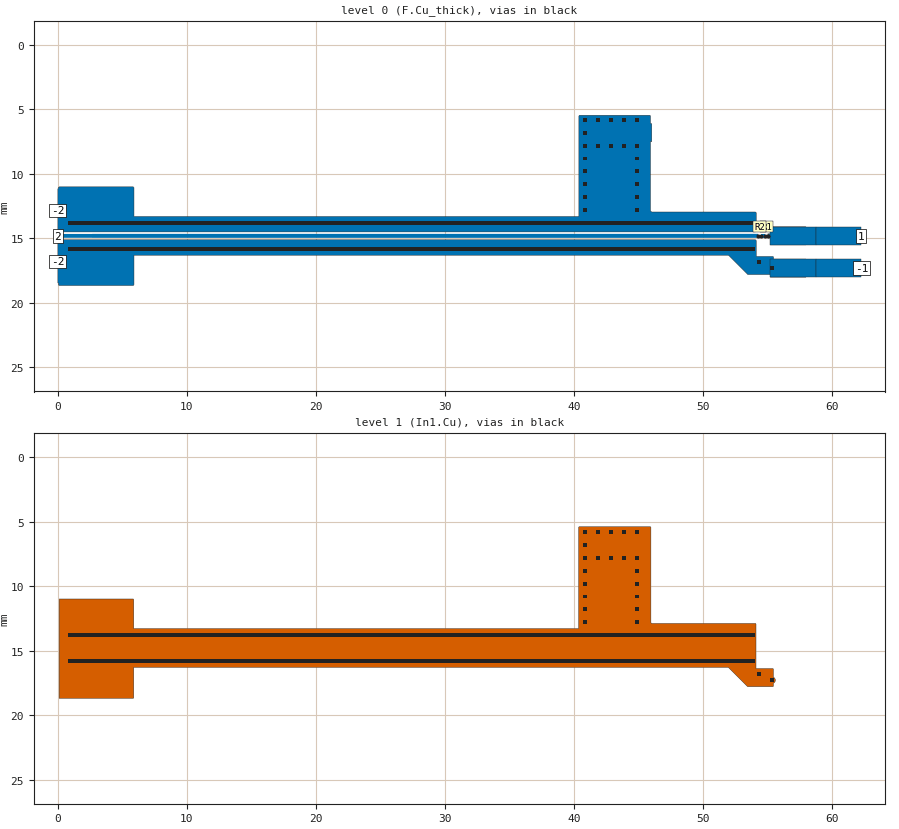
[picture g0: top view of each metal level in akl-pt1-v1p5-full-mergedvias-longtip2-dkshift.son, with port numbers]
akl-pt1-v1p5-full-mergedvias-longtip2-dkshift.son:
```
FTYP SONPROJ 19 ! Sonnet Project File
VER 18.54
HEADER
LIC antikernel2.1.51813
DAT 08/12/2022 13:37:57
BUILT_BY_CREATED dxf 18.54 08/11/2022 23:14:47
BUILT_BY_SAVED sonnet 18.54
MDATE 08/12/2022 09:58:47
HDATE 08/12/2022 09:58:47
ANN Created by dxfgeo, Sonnet Software Inc.
END HEADER
DIM
ANG DEG
CAP PF
CON /OH
FREQ GHZ
IND NH
LNG MM
RES OH
END DIM
CONTROL
VARSWP
OPTIONS  -dj
SPEED 1
CACHE_ABS 2
Q_ACC N
END CONTROL
GEO
DRP1 LEFT NONE 5
DRP1 RIGHT NONE 5
TMET "Free Space" 0 FREESPACE 376.7303136 0 0 0
BMET "Free Space" 0 FREESPACE 376.7303136 0 0 0
MET "Copper_1oz+plated_thick_up" 1 TMM 58000000 0.5 0.0432 2
MET "Copper_1oz+plated_thin" 4 NOR 58000000 0.5 0.0432 
MET "Copper_0.5oz_thin" 2 NOR 58000000 0.5 0.0175 
MET "Copper_1oz+plated_thick_down" 3 TMM 58000000 0.5 0.0432 2 CDVY TDWN
MET "ThickTip" 11 TMM 15700000 0.5 1 4
BOX 4 62.3 25 2492 1000 20 0
      10 1 1 0 0 0 0 "Air"
      0.2021 3.61 1 0.0092 0 0 0 "Isola_FR408HR"
      1.1938 3.61 1 0.0092 0 0 0 "Isola_FR408HR"
      0.2021 3.61 1 0.0092 0 0 0 "Isola_FR408HR"
      10 1 1 0 0 0 0 "Air"
TECHLAY METAL F.Cu_thick <UNSPECIFIED> -1 -65534 CAD F.Cu drawing 
0 0 0 N 398 1 1 100 100 0 0 0 Y
END
END
TECHLAY VIA Via1 <UNSPECIFIED> -7 -65534 CAD Via1 drawing 
VIA POLYGON
0 0 -1 N 403 1 1 100 100 0 0 0 Y
TOLEVEL 3 RING NOCOVERS
END
END
TECHLAY METAL F.Cu_thin <UNSPECIFIED> -2 -65534 CAD F.Cu_thin drawing 
0 0 1 N 405 1 1 100 100 0 0 0 Y
END
END
TECHLAY METAL Tip <UNSPECIFIED> -8 -65534 
0 0 4 N 407 1 1 100 100 0 0 0 Y
END
END
TECHLAY METAL In1.Cu <UNSPECIFIED> -3 -65534 CAD In1.Cu drawing 
1 0 2 N 416 1 1 100 100 0 0 0 Y
END
END
TECHLAY METAL In2.Cu <UNSPECIFIED> -4 -65534 CAD In2.Cu drawing 
2 0 2 N 419 1 1 100 100 0 0 0 Y
END
END
TECHLAY METAL B.Cu_thin <UNSPECIFIED> -6 -65534 CAD B.Cu_thin drawing 
3 0 1 N 422 1 1 100 100 0 0 0 Y
END
END
TECHLAY METAL B.Cu_thick <UNSPECIFIED> -5 -65534 CAD B.Cu drawing 
3 0 3 N 424 1 1 100 100 0 0 0 Y
END
END
LORGN 0 25 U 
POR1 BOX
POLY 224 1
41
-2 50 0 0 0 0 12.82 
POR1 BOX
POLY 225 1
10
2 50 0 0 0 0 14.8 
POR1 BOX
POLY 228 1
23
-2 50 0 0 0 0 16.78 
POR1 BOX
POLY 381 1
1
1 50 0 0 0 62.3 14.8 
POR1 BOX
POLY 382 1
1
-1 50 0 0 0 62.3 17.3 
SMD 0 "R1"
ID 240
GNDREF FLOAT
DRP1 LEFT NONE 2
DRP1 RIGHT NONE 2
SBOX 54.89875 54.99625 14.75125 14.84875
PBSHW N
LPOS 54.9475 14.75125
TYPE SPARAM 1
SMDP 0 55.045 14.8 R 3 1 
EXSMDP
GNDREF FLOAT
TERMW FEED
END EXSMDP
SMDP 0 54.85 14.8 L 4 2 
EXSMDP
GNDREF FLOAT
TERMW FEED
END EXSMDP
END
SMD 0 "R2"
ID 269
GNDREF FLOAT
DRP1 LEFT NONE 2
DRP1 RIGHT NONE 2
SBOX 54.35 54.45 14.75 14.85
PBSHW N
LPOS 54.4 14.75
TYPE SPARAM 2
SMDP 0 54.5 14.8 R 5 1 
EXSMDP
GNDREF FLOAT
TERMW FEED
END EXSMDP
SMDP 0 54.3 14.8 L 6 2 
EXSMDP
GNDREF FLOAT
TERMW FEED
END EXSMDP
END
NUM 35
0 13 0 N 3 1 1 100 100 0 0 0 Y
TLAYNAM F.Cu_thick INH
USER_DAT FromImport
54.5 14.955
54.5 14.645
54.65 14.645
54.65 14.65
54.7 14.65
54.7 14.645
54.85 14.645
54.85 14.955
54.7 14.955
54.7 14.95
54.65 14.95
54.65 14.955
54.5 14.955
END
0 45 0 N 224 1 1 100 100 0 0 0 Y
TLAYNAM F.Cu_thick INH
USER_DAT FromImport
54.089 14.493
54.133 14.468
54.15 14.421
54.15 13.024
54.149 13.011
54.124 12.967
54.076 12.95
46.129 12.95
46.11 12.953
46.1 12.955
46.091 12.953
46.061 12.945
46.022 12.934
45.966 12.878
45.95 12.82
45.945 12.8
45.947 12.79
45.95 12.771
45.95 7.5
46.05 7.5
46.05 6.1
45.95 6.1
45.95 5.524
45.949 5.511
45.924 5.467
45.876 5.45
40.474 5.45
40.461 5.451
40.417 5.476
40.4 5.524
40.4 13.3
5.9 13.3
5.9 11.074
5.899 11.061
5.874 11.017
5.826 11
0.124 11
0.111 11.001
0.067 11.026
0.05 11.074
0.05 11.145
0 11.145
0 14.495
54.076 14.495
54.089 14.493
END
0 23 0 N 225 1 1 100 100 0 0 0 Y
TLAYNAM F.Cu_thick INH
USER_DAT FromImport
54.3 14.645
54.15 14.645
54.15 14.653
54.138 14.649
54.123 14.646
54.108 14.645
2.692 14.645
2.677 14.646
2.662 14.649
2.659 14.65
0 14.65
0 14.95
2.659 14.95
2.662 14.951
2.677 14.954
2.692 14.955
54.108 14.955
54.123 14.954
54.138 14.951
54.15 14.947
54.15 14.955
54.3 14.955
54.3 14.645
END
0 32 0 N 228 1 1 100 100 0 0 0 Y
TLAYNAM F.Cu_thick INH
USER_DAT FromImport
5.839 18.649
5.883 18.624
5.9 18.576
5.9 16.3
52 16.3
53.483 17.783
53.531 17.8
55.245 17.8
55.245 18
58 18
58 16.6
55.5 16.6
55.5 16.474
55.499 16.461
55.474 16.417
55.426 16.4
54.15 16.4
54.15 15.18
54.149 15.167
54.124 15.123
54.076 15.106
5.5 15.106
5.5 15.105
0 15.105
0 18.455
0.05 18.455
0.05 18.576
0.051 18.589
0.076 18.633
0.124 18.65
5.826 18.65
5.839 18.649
END
0 17 0 N 229 1 1 100 100 0 0 0 Y
TLAYNAM F.Cu_thick INH
USER_DAT FromImport
58 14.1
55.245 14.1
55.245 14.645
55.05 14.645
55.05 14.759
55.049 14.762
55.046 14.777
55.045 14.792
55.045 14.808
55.046 14.823
55.049 14.838
55.05 14.841
55.05 14.955
55.245 14.955
55.245 15.5
58 15.5
58 14.1
END
VIA POLYGON
0 5 -1 N 7 1 1 100 100 0 0 0 Y
TOLEVEL 3 RING NOCOVERS
TLAYNAM Via1 INH
USER_DAT FromImport
55.25 17.45
55.25 17.15
55.55 17.15
55.55 17.45
55.25 17.45
END
VIA POLYGON
0 5 -1 N 8 1 1 100 100 0 0 0 Y
TOLEVEL 3 RING NOCOVERS
TLAYNAM Via1 INH
USER_DAT FromImport
54.25 16.95
54.25 16.65
54.55 16.65
54.55 16.95
54.25 16.95
END
VIA POLYGON
0 5 -1 N 61 1 1 100 100 0 0 0 Y
TOLEVEL 3 RING NOCOVERS
TLAYNAM Via1 INH
USER_DAT FromImport
40.75 12.95
40.75 12.65
41.05 12.65
41.05 12.95
40.75 12.95
END
VIA POLYGON
0 5 -1 N 62 1 1 100 100 0 0 0 Y
TOLEVEL 3 RING NOCOVERS
TLAYNAM Via1 INH
USER_DAT FromImport
44.75 12.95
44.75 12.65
45.05 12.65
45.05 12.95
44.75 12.95
END
VIA POLYGON
0 5 -1 N 63 1 1 100 100 0 0 0 Y
TOLEVEL 3 RING NOCOVERS
TLAYNAM Via1 INH
USER_DAT FromImport
40.75 11.95
40.75 11.65
41.05 11.65
41.05 11.95
40.75 11.95
END
VIA POLYGON
0 5 -1 N 64 1 1 100 100 0 0 0 Y
TOLEVEL 3 RING NOCOVERS
TLAYNAM Via1 INH
USER_DAT FromImport
44.75 11.95
44.75 11.65
45.05 11.65
45.05 11.95
44.75 11.95
END
VIA POLYGON
0 5 -1 N 65 1 1 100 100 0 0 0 Y
TOLEVEL 3 RING NOCOVERS
TLAYNAM Via1 INH
USER_DAT FromImport
40.75 10.95
40.75 10.65
41.05 10.65
41.05 10.95
40.75 10.95
END
VIA POLYGON
0 5 -1 N 66 1 1 100 100 0 0 0 Y
TOLEVEL 3 RING NOCOVERS
TLAYNAM Via1 INH
USER_DAT FromImport
44.75 10.95
44.75 10.65
45.05 10.65
45.05 10.95
44.75 10.95
END
VIA POLYGON
0 5 -1 N 67 1 1 100 100 0 0 0 Y
TOLEVEL 3 RING NOCOVERS
TLAYNAM Via1 INH
USER_DAT FromImport
40.75 9.95
40.75 9.65
41.05 9.65
41.05 9.95
40.75 9.95
END
VIA POLYGON
0 5 -1 N 68 1 1 100 100 0 0 0 Y
TOLEVEL 3 RING NOCOVERS
TLAYNAM Via1 INH
USER_DAT FromImport
44.75 9.95
44.75 9.65
45.05 9.65
45.05 9.95
44.75 9.95
END
VIA POLYGON
0 5 -1 N 69 1 1 100 100 0 0 0 Y
TOLEVEL 3 RING NOCOVERS
TLAYNAM Via1 INH
USER_DAT FromImport
40.75 8.95
40.75 8.65
41.05 8.65
41.05 8.95
40.75 8.95
END
VIA POLYGON
0 5 -1 N 70 1 1 100 100 0 0 0 Y
TOLEVEL 3 RING NOCOVERS
TLAYNAM Via1 INH
USER_DAT FromImport
44.75 8.95
44.75 8.65
45.05 8.65
45.05 8.95
44.75 8.95
END
VIA POLYGON
0 5 -1 N 71 1 1 100 100 0 0 0 Y
TOLEVEL 3 RING NOCOVERS
TLAYNAM Via1 INH
USER_DAT FromImport
40.75 7.95
40.75 7.65
41.05 7.65
41.05 7.95
40.75 7.95
END
VIA POLYGON
0 5 -1 N 72 1 1 100 100 0 0 0 Y
TOLEVEL 3 RING NOCOVERS
TLAYNAM Via1 INH
USER_DAT FromImport
41.75 7.95
41.75 7.65
42.05 7.65
42.05 7.95
41.75 7.95
END
VIA POLYGON
0 5 -1 N 73 1 1 100 100 0 0 0 Y
TOLEVEL 3 RING NOCOVERS
TLAYNAM Via1 INH
USER_DAT FromImport
42.75 7.95
42.75 7.65
43.05 7.65
43.05 7.95
42.75 7.95
END
VIA POLYGON
0 5 -1 N 74 1 1 100 100 0 0 0 Y
TOLEVEL 3 RING NOCOVERS
TLAYNAM Via1 INH
USER_DAT FromImport
43.75 7.95
43.75 7.65
44.05 7.65
44.05 7.95
43.75 7.95
END
VIA POLYGON
0 5 -1 N 75 1 1 100 100 0 0 0 Y
TOLEVEL 3 RING NOCOVERS
TLAYNAM Via1 INH
USER_DAT FromImport
44.75 7.95
44.75 7.65
45.05 7.65
45.05 7.95
44.75 7.95
END
VIA POLYGON
0 5 -1 N 76 1 1 100 100 0 0 0 Y
TOLEVEL 3 RING NOCOVERS
TLAYNAM Via1 INH
USER_DAT FromImport
40.75 6.95
40.75 6.65
41.05 6.65
41.05 6.95
40.75 6.95
END
VIA POLYGON
0 5 -1 N 77 1 1 100 100 0 0 0 Y
TOLEVEL 3 RING NOCOVERS
TLAYNAM Via1 INH
USER_DAT FromImport
40.75 5.95
40.75 5.65
41.05 5.65
41.05 5.95
40.75 5.95
END
VIA POLYGON
0 5 -1 N 78 1 1 100 100 0 0 0 Y
TOLEVEL 3 RING NOCOVERS
TLAYNAM Via1 INH
USER_DAT FromImport
41.75 5.95
41.75 5.65
42.05 5.65
42.05 5.95
41.75 5.95
END
VIA POLYGON
0 5 -1 N 79 1 1 100 100 0 0 0 Y
TOLEVEL 3 RING NOCOVERS
TLAYNAM Via1 INH
USER_DAT FromImport
42.75 5.95
42.75 5.65
43.05 5.65
43.05 5.95
42.75 5.95
END
VIA POLYGON
0 5 -1 N 80 1 1 100 100 0 0 0 Y
TOLEVEL 3 RING NOCOVERS
TLAYNAM Via1 INH
USER_DAT FromImport
43.75 5.95
43.75 5.65
44.05 5.65
44.05 5.95
43.75 5.95
END
VIA POLYGON
0 5 -1 N 81 1 1 100 100 0 0 0 Y
TOLEVEL 3 RING NOCOVERS
TLAYNAM Via1 INH
USER_DAT FromImport
44.75 5.95
44.75 5.65
45.05 5.65
45.05 5.95
44.75 5.95
END
VIA POLYGON
0 5 -1 N 93 1 1 100 100 0 0 0 Y
TOLEVEL 3 RING NOCOVERS
TLAYNAM Via1 INH
USER_DAT FromImport
0.75 15.95
0.75 15.65
54.05 15.65
54.05 15.95
0.75 15.95
END
VIA POLYGON
0 5 -1 N 119 1 1 100 100 0 0 0 Y
TOLEVEL 3 RING NOCOVERS
TLAYNAM Via1 INH
USER_DAT FromImport
0.75 13.95
0.75 13.65
54.05 13.65
54.05 13.95
0.75 13.95
END
0 5 4 N 379 1 1 100 100 0 0 0 Y
TLAYNAM Tip INH
55.245 14.1
58.8 14.1
58.8 15.5
55.245 15.5
55.245 14.1
END
0 5 4 N 380 1 1 100 100 0 0 0 Y
TLAYNAM Tip INH
55.245 16.6
58.8 16.6
58.8 18
55.245 18
55.245 16.6
END
0 5 4 N 381 1 1 100 100 0 0 0 Y
TLAYNAM Tip INH
58.8 14.1
62.3 14.1
62.3 15.5
58.8 15.5
58.8 14.1
END
0 5 4 N 382 1 1 100 100 0 0 0 Y
TLAYNAM Tip INH
58.8 16.6
62.3 16.6
62.3 18
58.8 18
58.8 16.6
END
1 67 2 N 331 1 1 100 100 0 0 0 Y
TLAYNAM In1.Cu INH
USER_DAT FromImport
5.868925 18.67935
5.882925 18.64435
5.882925 16.29335
51.982925 16.29335
53.468925 17.77935
53.502925 17.79335
55.433925 17.79335
55.468925 17.77935
55.482925 17.74435
55.482925 17.52235
55.489925 17.51935
55.511925 17.50735
55.531925 17.49435
55.550925 17.47835
55.567925 17.46135
55.583925 17.44235
55.596925 17.42235
55.608925 17.40035
55.617925 17.37735
55.625925 17.35435
55.629925 17.33035
55.632925 17.30535
55.632925 17.28135
55.629925 17.25635
55.625925 17.23235
55.617925 17.20935
55.608925 17.18635
55.596925 17.16435
55.583925 17.14435
55.567925 17.12535
55.550925 17.10835
55.531925 17.09235
55.511925 17.07935
55.489925 17.06735
55.482925 17.06435
55.482925 16.44235
55.468925 16.40735
55.433925 16.39335
54.132925 16.39335
54.132925 12.94235
54.118925 12.90735
54.083925 12.89335
46.050925 12.89335
46.042925 12.88835
46.029925 12.88135
46.020925 12.87835
46.016925 12.87235
46.003925 12.85935
45.997925 12.85535
45.994925 12.84635
45.987925 12.83335
45.982925 12.82535
45.982925 5.44235
45.968925 5.40735
45.933925 5.39335
40.431925 5.39335
40.396925 5.40735
40.382925 5.44235
40.382925 13.29335
5.882925 13.29335
5.882925 11.04235
5.868925 11.00735
5.833925 10.99335
0.1 10.99335
0.1 18.69335
5.833925 18.69335
5.868925 18.67935
END
END GEO
OPT
MAX 100
END OPT
VARSWP
ENABLED Y
FREQ Y AY ABS_ENTRY 0.1 8.5 -1 300 
END
END VARSWP
3DOPTIONS
GLOBAL 1
ALL 5 1
END 3DOPTIONS
SMDFILES
2 "../../../../../../ceph/bulk/datasheets/Vishay/Resistors/CH/CH02016F_P/CH02016F_P_200R.s2p"
1 "../../../../../../ceph/bulk/datasheets/Vishay/Resistors/CH/CH02016F_P/CH02016F_P_250R.s2p"
END SMDFILES
```
